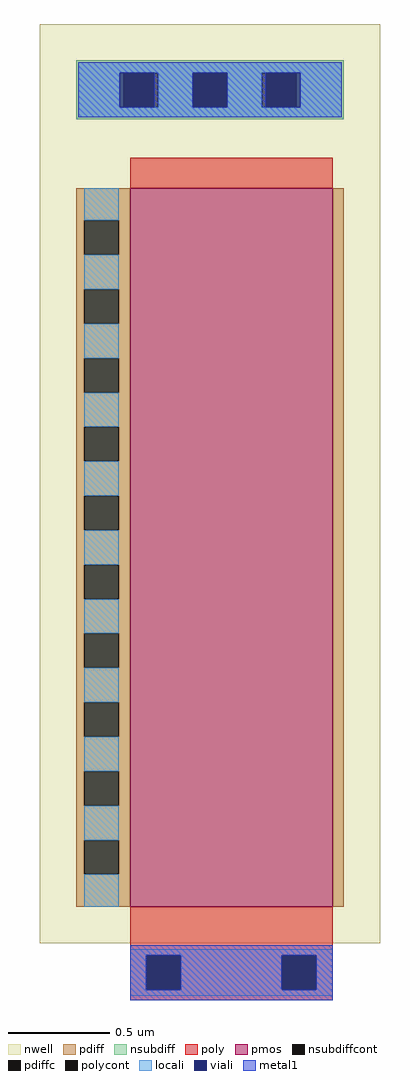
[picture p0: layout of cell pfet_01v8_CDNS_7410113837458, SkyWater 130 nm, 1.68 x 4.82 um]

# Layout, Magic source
magic
tech sky130A
magscale 1 2
<< nwell >>
rect -89 -36 247 872
<< pmos >>
rect 0 0 200 710
<< pdiff >>
rect -53 678 0 710
rect -53 644 -45 678
rect -11 644 0 678
rect -53 610 0 644
rect -53 576 -45 610
rect -11 576 0 610
rect -53 542 0 576
rect -53 508 -45 542
rect -11 508 0 542
rect -53 474 0 508
rect -53 440 -45 474
rect -11 440 0 474
rect -53 406 0 440
rect -53 372 -45 406
rect -11 372 0 406
rect -53 338 0 372
rect -53 304 -45 338
rect -11 304 0 338
rect -53 270 0 304
rect -53 236 -45 270
rect -11 236 0 270
rect -53 202 0 236
rect -53 168 -45 202
rect -11 168 0 202
rect -53 134 0 168
rect -53 100 -45 134
rect -11 100 0 134
rect -53 66 0 100
rect -53 32 -45 66
rect -11 32 0 66
rect -53 0 0 32
rect 200 0 211 710
<< pdiffc >>
rect -45 644 -11 678
rect -45 576 -11 610
rect -45 508 -11 542
rect -45 440 -11 474
rect -45 372 -11 406
rect -45 304 -11 338
rect -45 236 -11 270
rect -45 168 -11 202
rect -45 100 -11 134
rect -45 32 -11 66
<< nsubdiff >>
rect -53 824 211 836
rect -53 790 -6 824
rect 28 790 62 824
rect 96 790 130 824
rect 164 790 211 824
rect -53 778 211 790
<< nsubdiffcont >>
rect -6 790 28 824
rect 62 790 96 824
rect 130 790 164 824
<< poly >>
rect 0 710 200 740
rect 0 -48 200 0
rect 0 -82 16 -48
rect 50 -82 150 -48
rect 184 -82 200 -48
rect 0 -92 200 -82
<< polycont >>
rect 16 -82 50 -48
rect 150 -82 184 -48
<< locali >>
rect -51 824 209 834
rect -51 790 -10 824
rect 28 790 62 824
rect 96 790 130 824
rect 168 790 209 824
rect -51 780 209 790
rect -45 678 -11 710
rect -45 610 -11 644
rect -45 542 -11 576
rect -45 474 -11 508
rect -45 406 -11 440
rect -45 338 -11 372
rect -45 270 -11 304
rect -45 202 -11 236
rect -45 134 -11 168
rect -45 66 -11 100
rect -45 0 -11 32
rect 0 -48 200 -42
rect 0 -82 16 -48
rect 50 -82 150 -48
rect 184 -82 200 -48
rect 0 -88 200 -82
<< viali >>
rect -10 790 -6 824
rect -6 790 24 824
rect 62 790 96 824
rect 134 790 164 824
rect 164 790 168 824
rect 16 -82 50 -48
rect 150 -82 184 -48
<< metal1 >>
rect -51 824 209 834
rect -51 790 -10 824
rect 24 790 62 824
rect 96 790 134 824
rect 168 790 209 824
rect -51 780 209 790
rect 0 -48 200 -38
rect 0 -82 16 -48
rect 50 -82 150 -48
rect 184 -82 200 -48
rect 0 -92 200 -82
<< end >>
